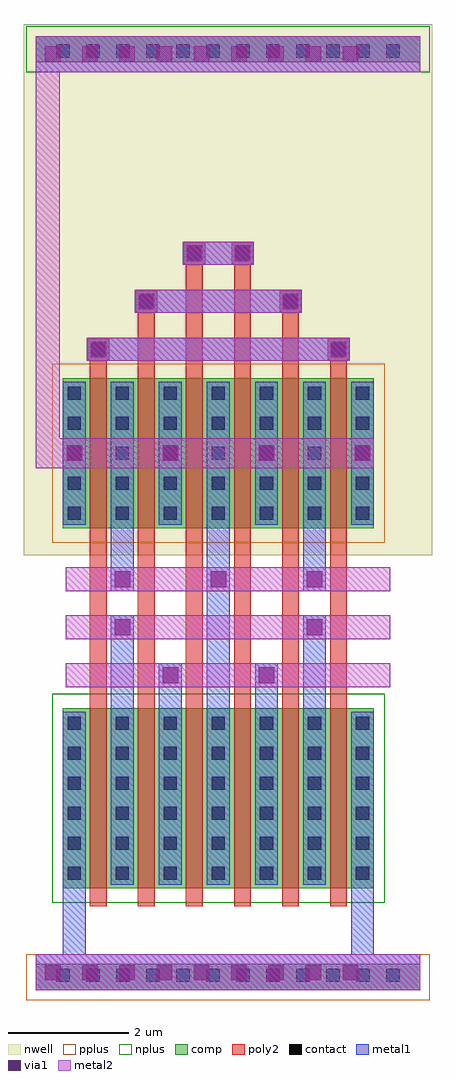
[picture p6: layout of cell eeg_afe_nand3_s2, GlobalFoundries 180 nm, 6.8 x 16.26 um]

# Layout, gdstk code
import gdstk
lib = gdstk.Library(unit=1e-6, precision=1e-09)
def R(c, l, rs):  # rectangles x0, y0, x1, y1
    for r in rs: c.add(gdstk.rectangle(r[:2], r[2:], *l))
def A(c, l, x, y, w, h, nx, ny, dx, dy):  # array of equal rectangles
    R(c, l, [(x+i*dx, y+j*dy, x+i*dx+w, y+j*dy+h) for i in range(nx) for j in range(ny)])
nwell = (21, 0)
comp = (22, 0)
poly2 = (30, 0)
pplus = (31, 0)
nplus = (32, 0)
contact = (33, 0)
metal1 = (34, 0)
via1 = (35, 0)
metal2 = (36, 0)

eeg_afe_nand3_s2 = lib.new_cell('eeg_afe_nand3_s2')
R(eeg_afe_nand3_s2, nwell, [(-0.2,7.25,6.6,16.1)])
R(eeg_afe_nand3_s2, comp, [(0,0,6.4,0.44), (0.45,1.7,5.63,4.7), (0.45,7.7,5.63,10.2), (0,15.46,6.4,15.9)])
A(eeg_afe_nand3_s2, poly2, 0.9, 1.4, 0.28, 6.3, 6, 1, 0.8, 0)
R(eeg_afe_nand3_s2, poly2, [(0.9,7.4,1.18,10.86), (1.7,7.4,1.98,11.66), (2.5,7.4,2.78,12.46), (3.3,7.4,3.58,12.46), (4.1,7.4,4.38,11.66), (4.9,7.4,5.18,10.86), (0.86,10.5,1.22,10.86), (4.86,10.5,5.22,10.86), (1.66,11.3,2.02,11.66), (4.06,11.3,4.42,11.66), (2.46,12.1,2.82,12.46), (3.26,12.1,3.62,12.46)])
R(eeg_afe_nand3_s2, pplus, [(-0.16,-0.16,6.56,0.6), (0.27,7.46,5.81,10.44)])
R(eeg_afe_nand3_s2, nplus, [(0.27,1.46,5.81,4.94), (-0.16,15.3,6.56,16.06)])
A(eeg_afe_nand3_s2, contact, 0.34, 0.14, 0.22, 0.22, 12, 2, 0.5, 15.4)
A(eeg_afe_nand3_s2, contact, 0.53, 1.84, 0.22, 0.22, 7, 6, 0.8, 0.5)
A(eeg_afe_nand3_s2, contact, 0.53, 7.84, 0.22, 0.22, 7, 5, 0.8, 0.5)
R(eeg_afe_nand3_s2, contact, [(0.93,10.57,1.15,10.79), (4.93,10.57,5.15,10.79), (1.73,11.37,1.95,11.59), (4.13,11.37,4.35,11.59), (2.53,12.17,2.75,12.39), (3.33,12.17,3.55,12.39)])
A(eeg_afe_nand3_s2, metal1, 1.25, 6.65, 0.38, 3.49, 3, 1, 1.6, 0)
A(eeg_afe_nand3_s2, metal1, 0.45, 7.76, 0.38, 2.38, 4, 1, 1.6, 0)
R(eeg_afe_nand3_s2, metal1, [(0,0,6.4,0.6), (0,0,6.4,0.44), (0.45,0.3,0.83,4.64), (5.25,0.3,5.63,4.64), (1.25,1.76,1.63,6.25), (2.05,1.76,2.43,5.45), (2.85,1.76,3.23,7.05), (3.65,1.76,4.03,5.45), (4.45,1.76,4.83,6.25), (0.85,10.49,5.23,10.87), (1.65,11.29,4.43,11.67), (2.45,12.09,3.63,12.47), (0,15.3,6.4,15.9), (0,15.46,6.4,15.9)])
A(eeg_afe_nand3_s2, via1, 0.15, 0.17, 0.26, 0.26, 9, 2, 0.62, 15.3)
A(eeg_afe_nand3_s2, via1, 0.51, 8.82, 0.26, 0.26, 4, 1, 1.6, 0)
R(eeg_afe_nand3_s2, via1, [(2.11,5.12,2.37,5.38), (3.71,5.12,3.97,5.38), (1.31,5.92,1.57,6.18), (4.51,5.92,4.77,6.18), (1.31,6.72,1.57,6.98), (2.91,6.72,3.17,6.98), (2.91,6.72,3.17,6.98), (4.51,6.72,4.77,6.98), (0.91,10.55,1.17,10.81), (4.91,10.55,5.17,10.81), (1.71,11.35,1.97,11.61), (4.11,11.35,4.37,11.61), (2.51,12.15,2.77,12.41), (3.31,12.15,3.57,12.41)])
A(eeg_afe_nand3_s2, metal2, 0.5, 5.05, 5.4, 0.4, 1, 3, 0, 0.8)
R(eeg_afe_nand3_s2, metal2, [(0,0,6.4,0.6), (0,8.7,5.63,9.2), (0,8.7,0.4,15.3), (0.85,10.49,5.23,10.87), (1.65,11.29,4.43,11.67), (2.45,12.09,3.63,12.47), (0,15.3,6.4,15.9)])

lib.write_gds('eeg_afe_nand3_s2.gds')
